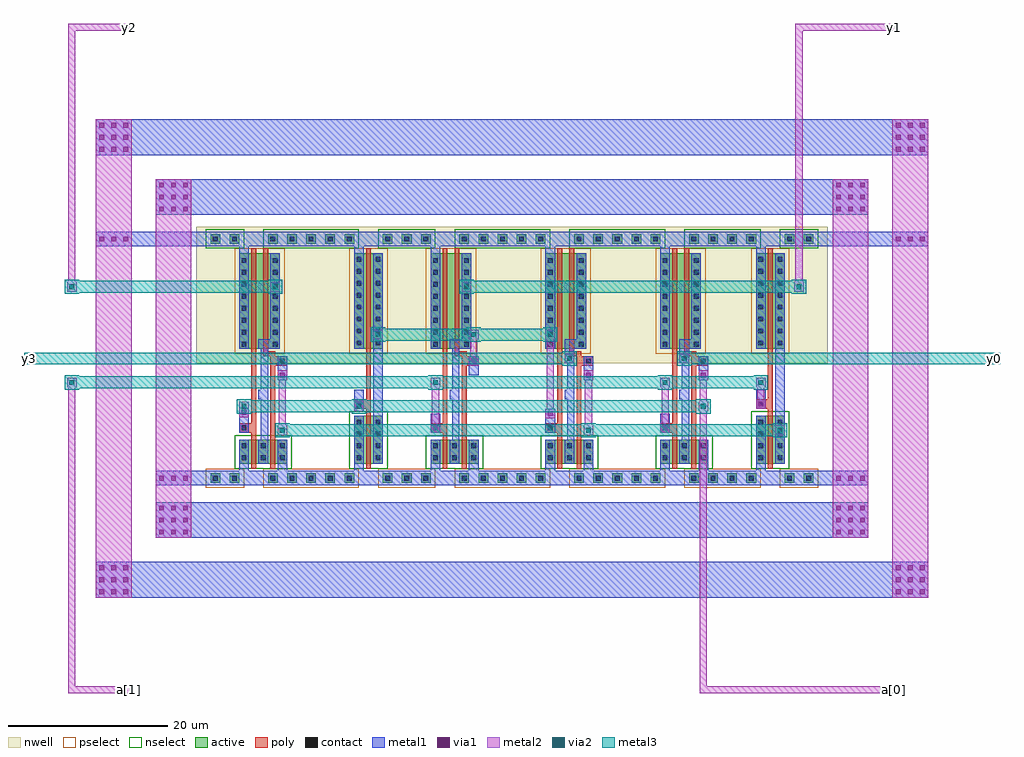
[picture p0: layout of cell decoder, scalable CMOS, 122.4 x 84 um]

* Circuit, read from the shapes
.subckt decoder a[0] a[1] gnd vdd y0 y1 y2 y3
M1 y2 a[0] gnd gnd nfet w=3u l=0.6u
M2 gnd NOR2X1_2/B y2 gnd nfet w=3u l=0.6u
M3 NOR2X1_3/A a[0] gnd gnd nfet w=6u l=0.6u
M4 y1 a[1] gnd gnd nfet w=3u l=0.6u
M5 gnd NOR2X1_3/A y1 gnd nfet w=3u l=0.6u
M6 y3 NOR2X1_3/A gnd gnd nfet w=3u l=0.6u
M7 gnd NOR2X1_2/B y3 gnd nfet w=3u l=0.6u
M8 y0 a[1] gnd gnd nfet w=3u l=0.6u
M9 gnd a[0] y0 gnd nfet w=3u l=0.6u
M10 NOR2X1_2/B a[1] gnd gnd nfet w=6u l=0.6u
M11 n1 a[0] vdd vdd pfet w=12u l=0.6u
M12 y2 NOR2X1_2/B n1 vdd pfet w=12u l=0.6u
M13 NOR2X1_3/A a[0] vdd vdd pfet w=12u l=0.6u
M14 n2 a[1] vdd vdd pfet w=12u l=0.6u
M15 y1 NOR2X1_3/A n2 vdd pfet w=12u l=0.6u
M16 n3 NOR2X1_3/A vdd vdd pfet w=12u l=0.6u
M17 y3 NOR2X1_2/B n3 vdd pfet w=12u l=0.6u
M18 n4 a[1] vdd vdd pfet w=12u l=0.6u
M19 y0 a[0] n4 vdd pfet w=12u l=0.6u
M20 NOR2X1_2/B a[1] vdd vdd pfet w=12u l=0.6u
.ends

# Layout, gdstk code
from math import pi, radians
import gdstk
lib = gdstk.Library(unit=1e-6, precision=1e-09)
def R(c, l, rs):  # rectangles x0, y0, x1, y1
    for r in rs: c.add(gdstk.rectangle(r[:2], r[2:], *l))
def A(c, l, x, y, w, h, nx, ny, dx, dy):  # array of equal rectangles
    R(c, l, [(x+i*dx, y+j*dy, x+i*dx+w, y+j*dy+h) for i in range(nx) for j in range(ny)])
contact = (25, 0)
nwell = (42, 0)
active = (43, 0)
pselect = (44, 0)
nselect = (45, 0)
poly = (46, 0)
metal1 = (49, 0)
via1 = (50, 0)
metal2 = (51, 0)
via2 = (61, 0)
metal3 = (62, 0)

nor2x1 = lib.new_cell('NOR2X1')
A(nor2x1, contact, 0.9, 2.25, 0.6, 0.6, 3, 2, 2.4, 1.5)
A(nor2x1, contact, 0.9, 16.5, 0.6, 0.6, 1, 8, 0, 1.5)
A(nor2x1, contact, 4.8, 16.5, 0.6, 0.6, 1, 8, 0, 1.5)
R(nor2x1, contact, [(-0.3,-0.3,0.3,0.3), (4.5,-0.3,5.1,0.3), (0.9,6,1.5,6.6), (5.7,14.4,6.3,15), (-0.3,29.7,0.3,30.3), (4.5,29.7,5.1,30.3)])
R(nor2x1, nwell, [(-2.4,14.4,9.6,31.5)])
R(nor2x1, active, [(-0.6,-0.6,0.6,0.6), (4.2,-0.6,5.4,0.6), (0.6,1.8,6.6,4.8), (0.6,16.2,5.7,28.2), (-0.6,29.4,0.6,30.6), (4.2,29.4,5.4,30.6)])
R(nor2x1, pselect, [(-1.2,-1.2,1.2,1.2), (3.6,-1.2,6,1.2), (0,15.6,6.3,28.8)])
R(nor2x1, nselect, [(0,1.2,7.2,5.4), (-1.2,28.8,1.2,31.2), (3.6,28.8,6,31.2)])
R(nor2x1, poly, [(2.1,1.2,2.7,5.7), (4.5,1.2,5.1,14.1), (0.6,5.7,2.7,6.9), (2.1,6.9,2.7,28.8), (4.5,14.1,6.6,15.3), (3.6,15.3,5.1,15.9), (3.6,15.9,4.2,28.8)])
R(nor2x1, metal1, [(-0.6,-0.9,7.8,0.9), (0.6,0.9,1.8,4.8), (5.4,0.9,6.6,4.8), (3,1.8,4.2,4.8), (3.3,4.8,4.2,9.9), (0.6,5.7,1.8,8.1), (0.6,6.9,1.8,8.1), (3,9.9,4.2,11.1), (3,9.9,4.2,11.1), (3.3,11.1,4.2,16.2), (5.4,12.9,6.6,15.3), (5.4,12.9,6.6,14.1), (0.6,16.2,1.8,29.1), (3,16.2,5.7,17.4), (4.5,17.4,5.7,28.2), (-0.6,29.1,7.8,30.9)])
nor2x1.add(gdstk.Label('vdd', (1.2,30), layer=63, texttype=0))
nor2x1.add(gdstk.Label('B', (6,13.5), layer=63, texttype=0))
nor2x1.add(gdstk.Label('gnd', (1.2,0), layer=63, texttype=0))
nor2x1.add(gdstk.Label('Y', (3.6,10.5), layer=63, texttype=0))
nor2x1.add(gdstk.Label('A', (1.2,7.5), layer=63, texttype=0))

invx2 = lib.new_cell('INVX2')
A(invx2, contact, 0.9, 2.25, 0.6, 0.6, 1, 4, 0, 1.5)
A(invx2, contact, 3.3, 2.25, 0.6, 0.6, 1, 4, 0, 1.5)
A(invx2, contact, 0.9, 16.65, 0.6, 0.6, 1, 8, 0, 1.5)
A(invx2, contact, 3.3, 16.65, 0.6, 0.6, 1, 8, 0, 1.5)
R(invx2, contact, [(-0.3,-0.3,0.3,0.3), (0.9,9,1.5,9.6), (-0.3,29.7,0.3,30.3)])
R(invx2, nwell, [(-2.7,14.4,7.8,31.5)])
R(invx2, active, [(-0.6,-0.6,0.6,0.6), (0.6,1.8,4.2,7.8), (0.6,16.2,4.2,28.2), (-0.6,29.4,0.6,30.6)])
R(invx2, pselect, [(-1.2,-1.2,1.2,1.2), (0,15.6,4.8,28.8)])
R(invx2, nselect, [(0,1.2,4.8,8.4), (-1.2,28.8,1.2,31.2)])
R(invx2, poly, [(2.1,1.2,2.7,8.7), (0.6,8.7,2.7,9.9), (2.1,9.9,2.7,28.8)])
R(invx2, metal1, [(-0.6,-0.9,5.4,0.9), (0.6,0.9,1.8,7.8), (3,1.8,4.2,28.2), (0.6,8.7,1.8,11.1), (0.6,9.9,1.8,11.1), (3,12.9,4.2,14.1), (0.6,16.2,1.8,29.1), (-0.6,29.1,5.4,30.9)])
invx2.add(gdstk.Label('vdd', (1.2,30), layer=63, texttype=0))
invx2.add(gdstk.Label('gnd', (1.2,0), layer=63, texttype=0))
invx2.add(gdstk.Label('Y', (3.6,13.5), layer=63, texttype=0))
invx2.add(gdstk.Label('A', (1.2,10.5), layer=63, texttype=0))

fill = lib.new_cell('FILL')
R(fill, contact, [(-0.3,-0.3,0.3,0.3), (2.1,-0.3,2.7,0.3), (-0.3,29.7,0.3,30.3), (2.1,29.7,2.7,30.3)])
R(fill, nwell, [(-2.4,14.4,4.8,31.5)])
R(fill, active, [(-0.6,-0.6,0.6,0.6), (1.8,-0.6,3,0.6), (-0.6,29.4,0.6,30.6), (1.8,29.4,3,30.6)])
R(fill, pselect, [(-1.2,-1.2,3.6,1.2)])
R(fill, nselect, [(-1.2,28.8,3.6,31.2)])
R(fill, metal1, [(-0.6,-0.9,3,0.9), (-0.6,29.1,3,30.9)])
fill.add(gdstk.Label('vdd', (1.2,30), layer=63, texttype=0))
fill.add(gdstk.Label('gnd', (1.2,0), layer=63, texttype=0))

c___m2_m1_1500_1500_3_3 = lib.new_cell('$$M2_M1_1500_1500_3_3')
R(c___m2_m1_1500_1500_3_3, metal1, [(-2.1,-2.1,2.1,2.1)])
A(c___m2_m1_1500_1500_3_3, via1, -1.8, -1.8, 0.6, 0.6, 3, 3, 1.5, 1.5)
R(c___m2_m1_1500_1500_3_3, metal2, [(-2.1,-2.1,2.1,2.1)])

c___m2_m1_1500_1500_3_1 = lib.new_cell('$$M2_M1_1500_1500_3_1')
R(c___m2_m1_1500_1500_3_1, metal1, [(-2.1,-0.6,2.1,0.6)])
A(c___m2_m1_1500_1500_3_1, via1, -1.8, -0.3, 0.6, 0.6, 3, 1, 1.5, 0)
R(c___m2_m1_1500_1500_3_1, metal2, [(-2.1,-0.6,2.1,0.6)])

c___m2_m1 = lib.new_cell('$$M2_M1')
R(c___m2_m1, metal1, [(-0.6,-0.6,0.6,0.6)])
R(c___m2_m1, via1, [(-0.3,-0.3,0.3,0.3)])
R(c___m2_m1, metal2, [(-0.6,-0.6,0.6,0.6)])

c___m3_m2 = lib.new_cell('$$M3_M2')
R(c___m3_m2, metal2, [(-0.6,-0.6,0.6,0.6)])
R(c___m3_m2, via2, [(-0.3,-0.3,0.3,0.3)])
R(c___m3_m2, metal3, [(-0.9,-0.9,0.9,0.9)])

decoder = lib.new_cell('decoder')
R(decoder, metal2, [(12.75,0,13.65,0.9), (108.75,0,109.65,0.9), (12.75,83.1,13.65,84), (108.75,83.1,109.65,84)])
R(decoder, metal3, [(0,41.25,1.5,42.75), (120.9,41.25,122.4,42.75)])
decoder.add(gdstk.FlexPath([(111.15,12),(111.15,72)], 4.5, ends="flush", simple_path=True, layer=51, datatype=0))  # metal2
decoder.add(gdstk.FlexPath([(103.65,19.5),(103.65,64.5)], 4.5, ends="flush", simple_path=True, layer=51, datatype=0))  # metal2
decoder.add(gdstk.FlexPath([(11.25,12),(11.25,72)], 4.5, ends="flush", simple_path=True, layer=51, datatype=0))  # metal2
decoder.add(gdstk.FlexPath([(18.75,19.5),(18.75,64.5)], 4.5, ends="flush", simple_path=True, layer=51, datatype=0))  # metal2
decoder.add(gdstk.FlexPath([(56.4,41.7),(56.4,45)], 0.9, ends="extended", simple_path=True, layer=51, datatype=0))  # metal2
decoder.add(gdstk.FlexPath([(66,35.1),(66,45)], 0.9, ends="extended", simple_path=True, layer=51, datatype=0))  # metal2
decoder.add(gdstk.FlexPath([(82.8,42),(82.8,43.8)], 1.2, ends="extended", simple_path=True, layer=49, datatype=0))  # metal1
decoder.add(gdstk.FlexPath([(6,0.45),(6,39)], 0.9, ends="extended", simple_path=True, layer=51, datatype=0))  # metal2
decoder.add(gdstk.FlexPath([(80.4,33.3),(80.4,39)], 0.9, ends="extended", simple_path=True, layer=51, datatype=0))  # metal2
decoder.add(gdstk.FlexPath([(51.6,33.3),(51.6,39)], 0.9, ends="extended", simple_path=True, layer=51, datatype=0))  # metal2
decoder.add(gdstk.FlexPath([(92.4,36.3),(92.4,39)], 0.9, ends="extended", simple_path=True, layer=51, datatype=0))  # metal2
decoder.add(gdstk.FlexPath([(85.2,0.45),(85.2,36)], 0.9, ends="extended", simple_path=True, layer=51, datatype=0))  # metal2
decoder.add(gdstk.FlexPath([(85.2,36),(85.2,39.9)], 0.9, ends="extended", simple_path=True, layer=51, datatype=0))  # metal2
decoder.add(gdstk.FlexPath([(97.2,51),(97.2,83.55)], 0.9, ends="extended", simple_path=True, layer=51, datatype=0))  # metal2
decoder.add(gdstk.FlexPath([(32.4,33),(32.4,39.9)], 0.9, ends="extended", simple_path=True, layer=51, datatype=0))  # metal2
decoder.add(gdstk.FlexPath([(70.8,33),(70.8,39.9)], 0.9, ends="extended", simple_path=True, layer=51, datatype=0))  # metal2
decoder.add(gdstk.FlexPath([(6,51),(6,83.55)], 0.9, ends="extended", simple_path=True, layer=51, datatype=0))  # metal2
decoder.add(gdstk.FlexPath([(68.4,42),(68.4,43.8)], 1.2, ends="extended", simple_path=True, layer=49, datatype=0))  # metal1
decoder.add(gdstk.FlexPath([(16.5,21.75),(105.9,21.75)], 4.5, ends="flush", simple_path=True, layer=49, datatype=0))  # metal1
decoder.add(gdstk.FlexPath([(9,14.25),(113.4,14.25)], 4.5, ends="flush", simple_path=True, layer=49, datatype=0))  # metal1
decoder.add(gdstk.FlexPath([(9,69.75),(113.4,69.75)], 4.5, ends="flush", simple_path=True, layer=49, datatype=0))  # metal1
decoder.add(gdstk.FlexPath([(16.5,62.25),(105.9,62.25)], 4.5, ends="flush", simple_path=True, layer=49, datatype=0))  # metal1
decoder.add(gdstk.FlexPath([(9,57),(113.4,57)], 1.8, ends="flush", simple_path=True, layer=49, datatype=0))  # metal1
decoder.add(gdstk.FlexPath([(16.5,27),(105.9,27)], 1.8, ends="flush", simple_path=True, layer=49, datatype=0))  # metal1
decoder.add(gdstk.FlexPath([(56.4,45),(66,45)], 1.5, ends="extended", simple_path=True, layer=62, datatype=0))  # metal3
decoder.add(gdstk.FlexPath([(44.4,45),(56.4,45)], 1.5, ends="extended", simple_path=True, layer=62, datatype=0))  # metal3
decoder.add(gdstk.FlexPath([(82.8,42),(121.65,42)], 1.5, ends="extended", simple_path=True, layer=62, datatype=0))  # metal3
decoder.add(gdstk.FlexPath([(6,0.45),(13.2,0.45)], 0.9, ends="extended", simple_path=True, layer=51, datatype=0))  # metal2
decoder.add(gdstk.FlexPath([(6,39),(51.6,39)], 1.5, ends="extended", simple_path=True, layer=62, datatype=0))  # metal3
decoder.add(gdstk.FlexPath([(80.4,39),(92.4,39)], 1.5, ends="extended", simple_path=True, layer=62, datatype=0))  # metal3
decoder.add(gdstk.FlexPath([(51.6,39),(80.4,39)], 1.5, ends="extended", simple_path=True, layer=62, datatype=0))  # metal3
decoder.add(gdstk.FlexPath([(85.2,0.45),(109.2,0.45)], 0.9, ends="extended", simple_path=True, layer=51, datatype=0))  # metal2
decoder.add(gdstk.FlexPath([(27.6,36),(42,36)], 1.5, ends="extended", simple_path=True, layer=62, datatype=0))  # metal3
decoder.add(gdstk.FlexPath([(42,36),(85.2,36)], 1.5, ends="extended", simple_path=True, layer=62, datatype=0))  # metal3
decoder.add(gdstk.FlexPath([(97.2,83.55),(109.2,83.55)], 0.9, ends="extended", simple_path=True, layer=51, datatype=0))  # metal2
decoder.add(gdstk.FlexPath([(55.5,51),(97.2,51)], 1.5, ends="extended", simple_path=True, layer=62, datatype=0))  # metal3
decoder.add(gdstk.FlexPath([(32.4,33),(70.8,33)], 1.5, ends="extended", simple_path=True, layer=62, datatype=0))  # metal3
decoder.add(gdstk.FlexPath([(70.8,33),(94.8,33)], 1.5, ends="extended", simple_path=True, layer=62, datatype=0))  # metal3
decoder.add(gdstk.FlexPath([(6,83.55),(13.2,83.55)], 0.9, ends="extended", simple_path=True, layer=51, datatype=0))  # metal2
decoder.add(gdstk.FlexPath([(6,51),(31.5,51)], 1.5, ends="extended", simple_path=True, layer=62, datatype=0))  # metal3
decoder.add(gdstk.FlexPath([(0.75,42),(68.4,42)], 1.5, ends="extended", simple_path=True, layer=62, datatype=0))  # metal3
decoder.add(gdstk.Reference(nor2x1, (79.2,27)))
decoder.add(gdstk.Reference(nor2x1, (50.4,27)))
decoder.add(gdstk.Reference(nor2x1, (26.4,27)))
decoder.add(gdstk.Reference(nor2x1, (64.8,27)))
decoder.add(gdstk.Reference(invx2, (40.8,27)))
decoder.add(gdstk.Reference(invx2, (91.2,27)))
decoder.add(gdstk.Reference(fill, (26.4,27), rotation=pi, x_reflection=True))
decoder.add(gdstk.Reference(fill, (36,27), rotation=pi, x_reflection=True))
decoder.add(gdstk.Reference(fill, (38.4,27), rotation=pi, x_reflection=True))
decoder.add(gdstk.Reference(fill, (40.8,27), rotation=pi, x_reflection=True))
decoder.add(gdstk.Reference(fill, (48,27), rotation=pi, x_reflection=True))
decoder.add(gdstk.Reference(fill, (50.4,27), rotation=pi, x_reflection=True))
decoder.add(gdstk.Reference(fill, (60,27), rotation=pi, x_reflection=True))
decoder.add(gdstk.Reference(fill, (62.4,27), rotation=pi, x_reflection=True))
decoder.add(gdstk.Reference(fill, (64.8,27), rotation=pi, x_reflection=True))
decoder.add(gdstk.Reference(fill, (74.4,27), rotation=pi, x_reflection=True))
decoder.add(gdstk.Reference(fill, (76.8,27), rotation=pi, x_reflection=True))
decoder.add(gdstk.Reference(fill, (79.2,27), rotation=pi, x_reflection=True))
decoder.add(gdstk.Reference(fill, (88.8,27), rotation=pi, x_reflection=True))
decoder.add(gdstk.Reference(fill, (91.2,27), rotation=pi, x_reflection=True))
decoder.add(gdstk.Reference(fill, (98.4,27), rotation=pi, x_reflection=True))
decoder.add(gdstk.Reference(c___m2_m1_1500_1500_3_3, (18.75,21.75)))
decoder.add(gdstk.Reference(c___m2_m1_1500_1500_3_3, (11.25,14.25)))
decoder.add(gdstk.Reference(c___m2_m1_1500_1500_3_3, (103.65,21.75)))
decoder.add(gdstk.Reference(c___m2_m1_1500_1500_3_3, (111.15,14.25)))
decoder.add(gdstk.Reference(c___m2_m1_1500_1500_3_3, (111.15,69.75)))
decoder.add(gdstk.Reference(c___m2_m1_1500_1500_3_3, (103.65,62.25)))
decoder.add(gdstk.Reference(c___m2_m1_1500_1500_3_3, (11.25,69.75)))
decoder.add(gdstk.Reference(c___m2_m1_1500_1500_3_3, (18.75,62.25)))
decoder.add(gdstk.Reference(c___m2_m1_1500_1500_3_1, (111.15,57)))
decoder.add(gdstk.Reference(c___m2_m1_1500_1500_3_1, (11.25,57)))
decoder.add(gdstk.Reference(c___m2_m1_1500_1500_3_1, (103.65,27)))
decoder.add(gdstk.Reference(c___m2_m1_1500_1500_3_1, (18.75,27)))
decoder.add(gdstk.Reference(c___m2_m1, (56.4,41.7)))
decoder.add(gdstk.Reference(c___m3_m2, (56.4,45)))
decoder.add(gdstk.Reference(c___m2_m1, (66,35.1)))
decoder.add(gdstk.Reference(c___m3_m2, (66,45)))
decoder.add(gdstk.Reference(c___m2_m1, (44.4,45)))
decoder.add(gdstk.Reference(c___m3_m2, (44.4,45)))
decoder.add(gdstk.Reference(c___m3_m2, (82.8,42)))
decoder.add(gdstk.Reference(c___m2_m1, (82.8,42)))
decoder.add(gdstk.Reference(c___m3_m2, (6,39)))
decoder.add(gdstk.Reference(c___m2_m1, (80.4,33.3)))
decoder.add(gdstk.Reference(c___m3_m2, (80.4,39)))
decoder.add(gdstk.Reference(c___m2_m1, (51.6,33.3)))
decoder.add(gdstk.Reference(c___m3_m2, (51.6,39)))
decoder.add(gdstk.Reference(c___m2_m1, (92.4,36.3)))
decoder.add(gdstk.Reference(c___m3_m2, (92.4,39)))
decoder.add(gdstk.Reference(c___m2_m1, (85.2,39.9)))
decoder.add(gdstk.Reference(c___m2_m1, (27.6,35.25)))
decoder.add(gdstk.Reference(c___m3_m2, (27.6,36)))
decoder.add(gdstk.Reference(c___m2_m1, (42,36.3)))
decoder.add(gdstk.Reference(c___m3_m2, (42,36)))
decoder.add(gdstk.Reference(c___m3_m2, (85.2,36)))
decoder.add(gdstk.Reference(c___m3_m2, (97.2,51)))
decoder.add(gdstk.Reference(c___m3_m2, (55.5,51)))
decoder.add(gdstk.Reference(c___m2_m1, (55.5,51)))
decoder.add(gdstk.Reference(c___m2_m1, (32.4,39.9)))
decoder.add(gdstk.Reference(c___m3_m2, (32.4,33)))
decoder.add(gdstk.Reference(c___m2_m1, (70.8,39.9)))
decoder.add(gdstk.Reference(c___m3_m2, (70.8,33)))
decoder.add(gdstk.Reference(c___m2_m1, (94.8,33)))
decoder.add(gdstk.Reference(c___m3_m2, (94.8,33)))
decoder.add(gdstk.Reference(c___m3_m2, (6,51)))
decoder.add(gdstk.Reference(c___m3_m2, (31.5,51)))
decoder.add(gdstk.Reference(c___m2_m1, (31.5,51)))
decoder.add(gdstk.Reference(c___m3_m2, (68.4,42)))
decoder.add(gdstk.Reference(c___m2_m1, (68.4,42)))
decoder.add(gdstk.Label('y3', (0.75,42), layer=62, texttype=0))
decoder.add(gdstk.Label('y1', (109.2,83.55), layer=51, texttype=0))
decoder.add(gdstk.Label('y2', (13.2,83.55), layer=51, texttype=0))
decoder.add(gdstk.Label('y0', (121.65,42), layer=62, texttype=0))
decoder.add(gdstk.Label('a[0]', (109.2,0.45), layer=51, texttype=0))
decoder.add(gdstk.Label('a[1]', (13.2,0.45), layer=51, texttype=0))

lib.write_gds('decoder.gds')
